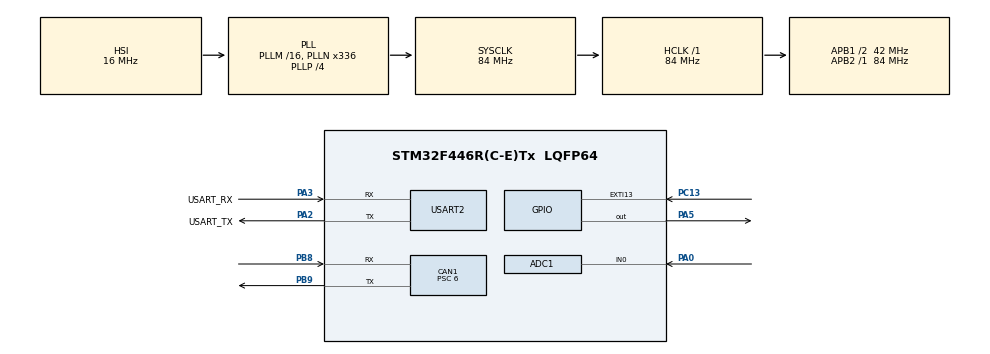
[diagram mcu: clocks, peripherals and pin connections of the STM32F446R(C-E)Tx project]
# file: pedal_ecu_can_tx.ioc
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ADC1.Channel-0\#ChannelRegularConversion=ADC_CHANNEL_0
ADC1.NbrOfConversionFlag=1
ADC1.Rank-0\#ChannelRegularConversion=1
ADC1.SamplingTime-0\#ChannelRegularConversion=ADC_SAMPLETIME_3CYCLES
ADC1.master=1
CAN1.BS1=CAN_BS1_11TQ
CAN1.BS2=CAN_BS2_2TQ
CAN1.CalculateBaudRate=500000
CAN1.CalculateTimeBit=2000
CAN1.CalculateTimeQuantum=142.85714285714286
CAN1.Prescaler=6
Mcu.Family=STM32F4
Mcu.Name=STM32F446R(C-E)Tx
Mcu.Package=LQFP64
NUCLEO-F446RE.BUTTON=1
NUCLEO-F446RE.LD1=true
NVIC.EXTI15_10_IRQn=true\:0\:0\:false\:false\:true\:false\:true\:true
NVIC.PriorityGroup=NVIC_PRIORITYGROUP_0
PA0-WKUP.Signal=ADCx_IN0
PA13.GPIO_Label=TMS
PA13.Signal=SYS_JTMS-SWDIO
PA14.GPIO_Label=TCK
PA14.Signal=SYS_JTCK-SWCLK
PA2.GPIO_Label=USART_TX
PA2.Mode=Asynchronous
PA2.Signal=USART2_TX
PA3.GPIO_Label=USART_RX
PA3.Mode=Asynchronous
PA3.Signal=USART2_RX
PA5.Signal=GPIO_Output
PB3.GPIO_Label=SWO
PB3.Signal=SYS_JTDO-SWO
PB8.Mode=CAN_Activate
PB8.Signal=CAN1_RX
PB9.Mode=CAN_Activate
PB9.Signal=CAN1_TX
PC13.Signal=GPXTI13
PC14-OSC32_IN.Signal=RCC_OSC32_IN
PC15-OSC32_OUT.Signal=RCC_OSC32_OUT
PH0-OSC_IN.Signal=RCC_OSC_IN
PH1-OSC_OUT.Signal=RCC_OSC_OUT
ProjectManager.HeapSize=0x200
ProjectManager.StackSize=0x400
ProjectManager.TargetToolchain=STM32CubeIDE
RCC.AHBFreq_Value=84000000
RCC.APB1CLKDivider=RCC_HCLK_DIV2
RCC.APB1Freq_Value=42000000
RCC.APB1TimFreq_Value=84000000
RCC.APB2Freq_Value=84000000
RCC.APB2TimFreq_Value=84000000
RCC.CortexFreq_Value=84000000
RCC.FLatency-AdvancedSettings=FLASH_LATENCY_2
RCC.HCLKFreq_Value=84000000
RCC.HSE_VALUE=8000000
RCC.HSI_VALUE=16000000
RCC.LSE_VALUE=32768
RCC.PLLN=336
RCC.PLLP=RCC_PLLP_DIV4
RCC.SYSCLKFreq_VALUE=84000000
RCC.SYSCLKSource=RCC_SYSCLKSOURCE_PLLCLK
RCC.USBFreq_Value=168000000
RCC.VCOOutputFreq_Value=336000000
SH.ADCx_IN0.0=ADC1_IN0,IN0
USART2.VirtualMode=VM_ASYNC
VP_NUCLEO-F446RE_VS_BSP_COMMON.Mode=COMMON
board=NUCLEO-F446RE

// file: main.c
/* USER CODE BEGIN Header */
/**
  ******************************************************************************
  * @file           : main.c
  * @brief          : Main program body
  ******************************************************************************
  * @attention
  *
  * Copyright (c) 2026 STMicroelectronics.
  * All rights reserved.
  *
  * This software is licensed under terms that can be found in the LICENSE file
  * in the root directory of this software component.
  * If no LICENSE file comes with this software, it is provided AS-IS.
  *
  ******************************************************************************
  */
/* USER CODE END Header */
#include "main.h"

/* USER CODE BEGIN Includes */
#include <stdio.h>
#include <string.h>
/* USER CODE END Includes */

/* USER CODE BEGIN PD */
#define PEDAL_TX_PERIOD_MS 100
/* USER CODE END PD */

ADC_HandleTypeDef hadc1;

CAN_HandleTypeDef hcan1;

UART_HandleTypeDef huart2;

/* USER CODE BEGIN PV */
CAN_TxHeaderTypeDef TxHeader;
uint8_t TxData[8];
uint32_t TxMailbox;
char msg[100];
uint32_t lastTxTime = 0;
/* USER CODE END PV */

void SystemClock_Config(void);
static void MX_GPIO_Init(void);
static void MX_ADC1_Init(void);
static void MX_CAN1_Init(void);
static void MX_USART2_UART_Init(void);

int main(void)
{

  /* MCU Configuration--------------------------------------------------------*/

  /* Reset of all peripherals, Initializes the Flash interface and the Systick. */
  HAL_Init();

  /* Configure the system clock */
  SystemClock_Config();

  /* Initialize all configured peripherals */
  MX_GPIO_Init();
  MX_ADC1_Init();
  MX_CAN1_Init();
  MX_USART2_UART_Init();
  /* USER CODE BEGIN 2 */
  if (HAL_CAN_Start(&hcan1) == HAL_OK)
  {
    snprintf(msg, sizeof(msg), "CAN Start OK\r\n");
    HAL_UART_Transmit(&huart2, (uint8_t*)msg, strlen(msg), 100);
  }
  else
  {
    snprintf(msg, sizeof(msg), "CAN Start Error\r\n");
    HAL_UART_Transmit(&huart2, (uint8_t*)msg, strlen(msg), 100);
  }

  TxHeader.StdId = 0x100;
  TxHeader.ExtId = 0x00;
  TxHeader.IDE = CAN_ID_STD;
  TxHeader.RTR = CAN_RTR_DATA;
  TxHeader.DLC = 1;
  TxHeader.TransmitGlobalTime = DISABLE;

  snprintf(msg, sizeof(msg), "Pedal ECU CAN TX Start\r\n");
  HAL_UART_Transmit(&huart2, (uint8_t*)msg, strlen(msg), 100);

  lastTxTime = HAL_GetTick();
  /* USER CODE END 2 */

  /* Initialize leds */
  BSP_LED_Init(LED2);

  /* Initialize USER push-button, will be used to trigger an interrupt each time it's pressed.*/
  BSP_PB_Init(BUTTON_USER, BUTTON_MODE_EXTI);

  /* Infinite loop */
  while (1)
  {

    /* USER CODE BEGIN 3 */

	  uint32_t currentTime = HAL_GetTick();

	  if ((currentTime - lastTxTime) >= PEDAL_TX_PERIOD_MS)
	  {
	    lastTxTime = currentTime;

	    uint32_t adc_value = 0;
	    uint32_t pedal_percent = 0;

	    HAL_ADC_Start(&hadc1);

	    if (HAL_ADC_PollForConversion(&hadc1, 10) == HAL_OK)
	    {
	      adc_value = HAL_ADC_GetValue(&hadc1);
	      pedal_percent = (adc_value * 100) / 4095;

	      TxData[0] = (uint8_t)pedal_percent;

	      if (HAL_CAN_GetTxMailboxesFreeLevel(&hcan1) > 0)
	      {
	        if (HAL_CAN_AddTxMessage(&hcan1, &TxHeader, TxData, &TxMailbox) == HAL_OK)
	        {
	          snprintf(msg, sizeof(msg), "ADC: %lu, TX Pedal: %lu%%\r\n",
	                   (unsigned long)adc_value,
	                   (unsigned long)pedal_percent);

	          HAL_UART_Transmit(&huart2, (uint8_t*)msg, strlen(msg), 100);
	        }
	        else
	        {
	          snprintf(msg, sizeof(msg), "CAN TX Error\r\n");
	          HAL_UART_Transmit(&huart2, (uint8_t*)msg, strlen(msg), 100);
	        }
	      }
	    }

	    HAL_ADC_Stop(&hadc1);
	  }

    /* USER CODE END 3 */
   }
  }

void SystemClock_Config(void)
{
  RCC_OscInitTypeDef RCC_OscInitStruct = {0};
  RCC_ClkInitTypeDef RCC_ClkInitStruct = {0};

  /** Configure the main internal regulator output voltage
  */
  __HAL_RCC_PWR_CLK_ENABLE();
  __HAL_PWR_VOLTAGESCALING_CONFIG(PWR_REGULATOR_VOLTAGE_SCALE3);

  /** Initializes the RCC Oscillators according to the specified parameters
  * in the RCC_OscInitTypeDef structure.
  */
  RCC_OscInitStruct.OscillatorType = RCC_OSCILLATORTYPE_HSI;
  RCC_OscInitStruct.HSIState = RCC_HSI_ON;
  RCC_OscInitStruct.HSICalibrationValue = RCC_HSICALIBRATION_DEFAULT;
  RCC_OscInitStruct.PLL.PLLState = RCC_PLL_ON;
  RCC_OscInitStruct.PLL.PLLSource = RCC_PLLSOURCE_HSI;
  RCC_OscInitStruct.PLL.PLLM = 16;
  RCC_OscInitStruct.PLL.PLLN = 336;
  RCC_OscInitStruct.PLL.PLLP = RCC_PLLP_DIV4;
  RCC_OscInitStruct.PLL.PLLQ = 2;
  RCC_OscInitStruct.PLL.PLLR = 2;
  if (HAL_RCC_OscConfig(&RCC_OscInitStruct) != HAL_OK)
  {
    Error_Handler();
  }

  /** Initializes the CPU, AHB and APB buses clocks
  */
  RCC_ClkInitStruct.ClockType = RCC_CLOCKTYPE_HCLK|RCC_CLOCKTYPE_SYSCLK
                              |RCC_CLOCKTYPE_PCLK1|RCC_CLOCKTYPE_PCLK2;
  RCC_ClkInitStruct.SYSCLKSource = RCC_SYSCLKSOURCE_PLLCLK;
  RCC_ClkInitStruct.AHBCLKDivider = RCC_SYSCLK_DIV1;
  RCC_ClkInitStruct.APB1CLKDivider = RCC_HCLK_DIV2;
  RCC_ClkInitStruct.APB2CLKDivider = RCC_HCLK_DIV1;

  if (HAL_RCC_ClockConfig(&RCC_ClkInitStruct, FLASH_LATENCY_2) != HAL_OK)
  {
    Error_Handler();
  }
}

static void MX_ADC1_Init(void)
{

  ADC_ChannelConfTypeDef sConfig = {0};

  /** Configure the global features of the ADC (Clock, Resolution, Data Alignment and number of conversion)
  */
  hadc1.Instance = ADC1;
  hadc1.Init.ClockPrescaler = ADC_CLOCK_SYNC_PCLK_DIV4;
  hadc1.Init.Resolution = ADC_RESOLUTION_12B;
  hadc1.Init.ScanConvMode = DISABLE;
  hadc1.Init.ContinuousConvMode = DISABLE;
  hadc1.Init.DiscontinuousConvMode = DISABLE;
  hadc1.Init.ExternalTrigConvEdge = ADC_EXTERNALTRIGCONVEDGE_NONE;
  hadc1.Init.ExternalTrigConv = ADC_SOFTWARE_START;
  hadc1.Init.DataAlign = ADC_DATAALIGN_RIGHT;
  hadc1.Init.NbrOfConversion = 1;
  hadc1.Init.DMAContinuousRequests = DISABLE;
  hadc1.Init.EOCSelection = ADC_EOC_SINGLE_CONV;
  if (HAL_ADC_Init(&hadc1) != HAL_OK)
  {
    Error_Handler();
  }

  /** Configure for the selected ADC regular channel its corresponding rank in the sequencer and its sample time.
  */
  sConfig.Channel = ADC_CHANNEL_0;
  sConfig.Rank = 1;
  sConfig.SamplingTime = ADC_SAMPLETIME_3CYCLES;
  if (HAL_ADC_ConfigChannel(&hadc1, &sConfig) != HAL_OK)
  {
    Error_Handler();
  }

}

static void MX_CAN1_Init(void)
{

  hcan1.Instance = CAN1;
  hcan1.Init.Prescaler = 6;
  hcan1.Init.Mode = CAN_MODE_NORMAL;
  hcan1.Init.SyncJumpWidth = CAN_SJW_1TQ;
  hcan1.Init.TimeSeg1 = CAN_BS1_11TQ;
  hcan1.Init.TimeSeg2 = CAN_BS2_2TQ;
  hcan1.Init.TimeTriggeredMode = DISABLE;
  hcan1.Init.AutoBusOff = DISABLE;
  hcan1.Init.AutoWakeUp = DISABLE;
  hcan1.Init.AutoRetransmission = DISABLE;
  hcan1.Init.ReceiveFifoLocked = DISABLE;
  hcan1.Init.TransmitFifoPriority = DISABLE;
  if (HAL_CAN_Init(&hcan1) != HAL_OK)
  {
    Error_Handler();
  }

}

static void MX_USART2_UART_Init(void)
{

  huart2.Instance = USART2;
  huart2.Init.BaudRate = 115200;
  huart2.Init.WordLength = UART_WORDLENGTH_8B;
  huart2.Init.StopBits = UART_STOPBITS_1;
  huart2.Init.Parity = UART_PARITY_NONE;
  huart2.Init.Mode = UART_MODE_TX_RX;
  huart2.Init.HwFlowCtl = UART_HWCONTROL_NONE;
  huart2.Init.OverSampling = UART_OVERSAMPLING_16;
  if (HAL_UART_Init(&huart2) != HAL_OK)
  {
    Error_Handler();
  }

}

static void MX_GPIO_Init(void)
{

  /* GPIO Ports Clock Enable */
  __HAL_RCC_GPIOC_CLK_ENABLE();
  __HAL_RCC_GPIOH_CLK_ENABLE();
  __HAL_RCC_GPIOA_CLK_ENABLE();
  __HAL_RCC_GPIOB_CLK_ENABLE();

}

void Error_Handler(void)
{
  __disable_irq();
  while (1)
  {
  }
}
